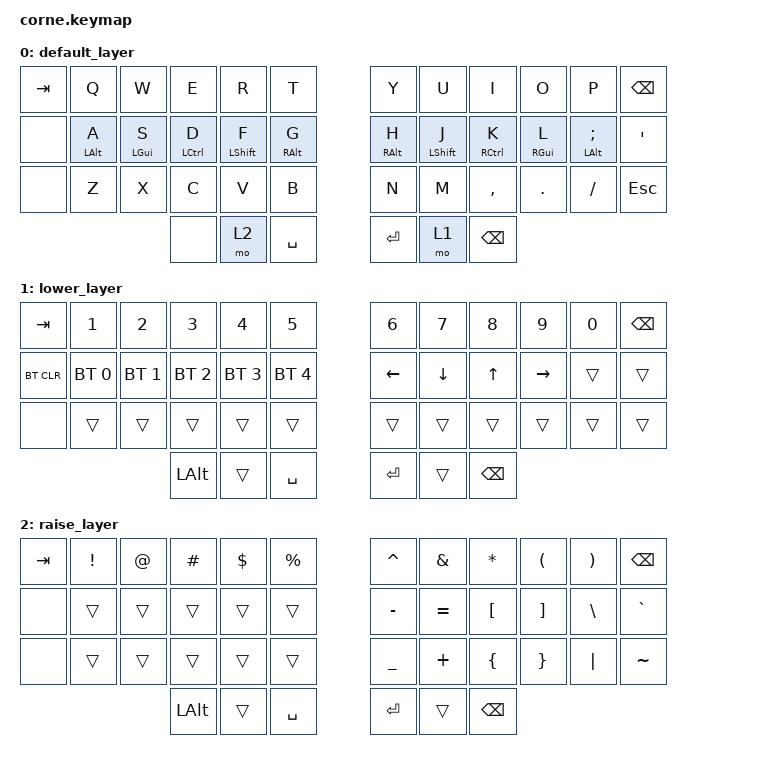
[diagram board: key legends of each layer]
/*
 * Copyright (c) 2020 The ZMK Contributors
 *
 * SPDX-License-Identifier: MIT
 */

#include <behaviors.dtsi>
#include <dt-bindings/zmk/bt.h>
#include <dt-bindings/zmk/keys.h>

/ {
    behaviors {
        hm: hm {
            compatible = "zmk,behavior-hold-tap";
            label = "HM";
            bindings = <&kp>, <&kp>;

            #binding-cells = <2>;
            tapping-term-ms = <200>;
            quick-tap-ms = <200>;
            require-prior-idle-ms = <200>;
            flavor = "tap-preferred";
        };
    };

    keymap {
        compatible = "zmk,keymap";

        default_layer {
            // -----------------------------------------------------------------------------------------
            // |  TAB |  Q  |  W  |  E  |  R  |  T  |   |  Y  |  U   |  I  |  O  |  P  | BSPC |
            // | CTRL |  A  |  S  |  D  |  F  |  G  |   |  H  |  J   |  K  |  L  |  ;  |  '   |
            // | SHFT |  Z  |  X  |  C  |  V  |  B  |   |  N  |  M   |  ,  |  .  |  /  | ESC  |
            //                    | GUI | LWR | SPC |   | ENT | RSE  | ALT |

            bindings = <
&kp TAB  &kp Q           &kp W       &kp E        &kp R        &kp T              &kp Y            &kp U         &kp I                &kp O            &kp P                   &kp BSPC
&none    &hm LEFT_ALT A  &hm LGUI S  &hm LCTRL D  &hm LSHFT F  &hm RIGHT_ALT G    &hm RIGHT_ALT H  &hm LSHIFT J  &hm RIGHT_CONTROL K  &hm RIGHT_GUI L  &hm LEFT_ALT SEMICOLON  &kp SQT
&none    &kp Z           &kp X       &kp C        &kp V        &kp B              &kp N            &kp M         &kp COMMA            &kp DOT          &kp FSLH                &kp ESC
                                     &none        &mo 2        &kp SPACE          &kp RET          &mo 1         &kp BACKSPACE
            >;
        };

        lower_layer {
            // -----------------------------------------------------------------------------------------
            // |  TAB |  1  |  2  |  3  |  4  |  5  |   |  6  |  7  |  8  |  9  |  0  | BSPC |
            // | BTCLR| BT1 | BT2 | BT3 | BT4 | BT5 |   | LFT | DWN |  UP | RGT |     |      |
            // | SHFT |     |     |     |     |     |   |     |     |     |     |     |      |
            //                    | GUI |     | SPC |   | ENT |     | ALT |

            bindings = <
&kp TAB     &kp N1        &kp N2        &kp N3        &kp N4        &kp N5          &kp N6    &kp N7    &kp N8         &kp N9     &kp N0  &kp BSPC
&bt BT_CLR  &bt BT_SEL 0  &bt BT_SEL 1  &bt BT_SEL 2  &bt BT_SEL 3  &bt BT_SEL 4    &kp LEFT  &kp DOWN  &kp UP         &kp RIGHT  &trans  &trans
&none       &trans        &trans        &trans        &trans        &trans          &trans    &trans    &trans         &trans     &trans  &trans
                                        &kp LALT      &trans        &kp SPACE       &kp RET   &trans    &kp BACKSPACE
            >;
        };

        raise_layer {
            // -----------------------------------------------------------------------------------------
            // |  TAB |  !  |  @  |  #  |  $  |  %  |   |  ^  |  &  |  *  |  (  |  )  | BSPC |
            // | CTRL |     |     |     |     |     |   |  -  |  =  |  [  |  ]  |  \  |  `   |
            // | SHFT |     |     |     |     |     |   |  _  |  +  |  {  |  }  | "|" |  ~   |
            //                    | GUI |     | SPC |   | ENT |     | ALT |

            bindings = <
&kp TAB  &kp EXCL  &kp AT  &kp HASH  &kp DLLR  &kp PRCNT    &kp CARET  &kp AMPS   &kp ASTRK      &kp LPAR  &kp RPAR  &kp BSPC
&none    &trans    &trans  &trans    &trans    &trans       &kp MINUS  &kp EQUAL  &kp LBKT       &kp RBKT  &kp BSLH  &kp GRAVE
&none    &trans    &trans  &trans    &trans    &trans       &kp UNDER  &kp PLUS   &kp LBRC       &kp RBRC  &kp PIPE  &kp TILDE
                           &kp LALT  &trans    &kp SPACE    &kp RET    &trans     &kp BACKSPACE
            >;
        };
    };
};
